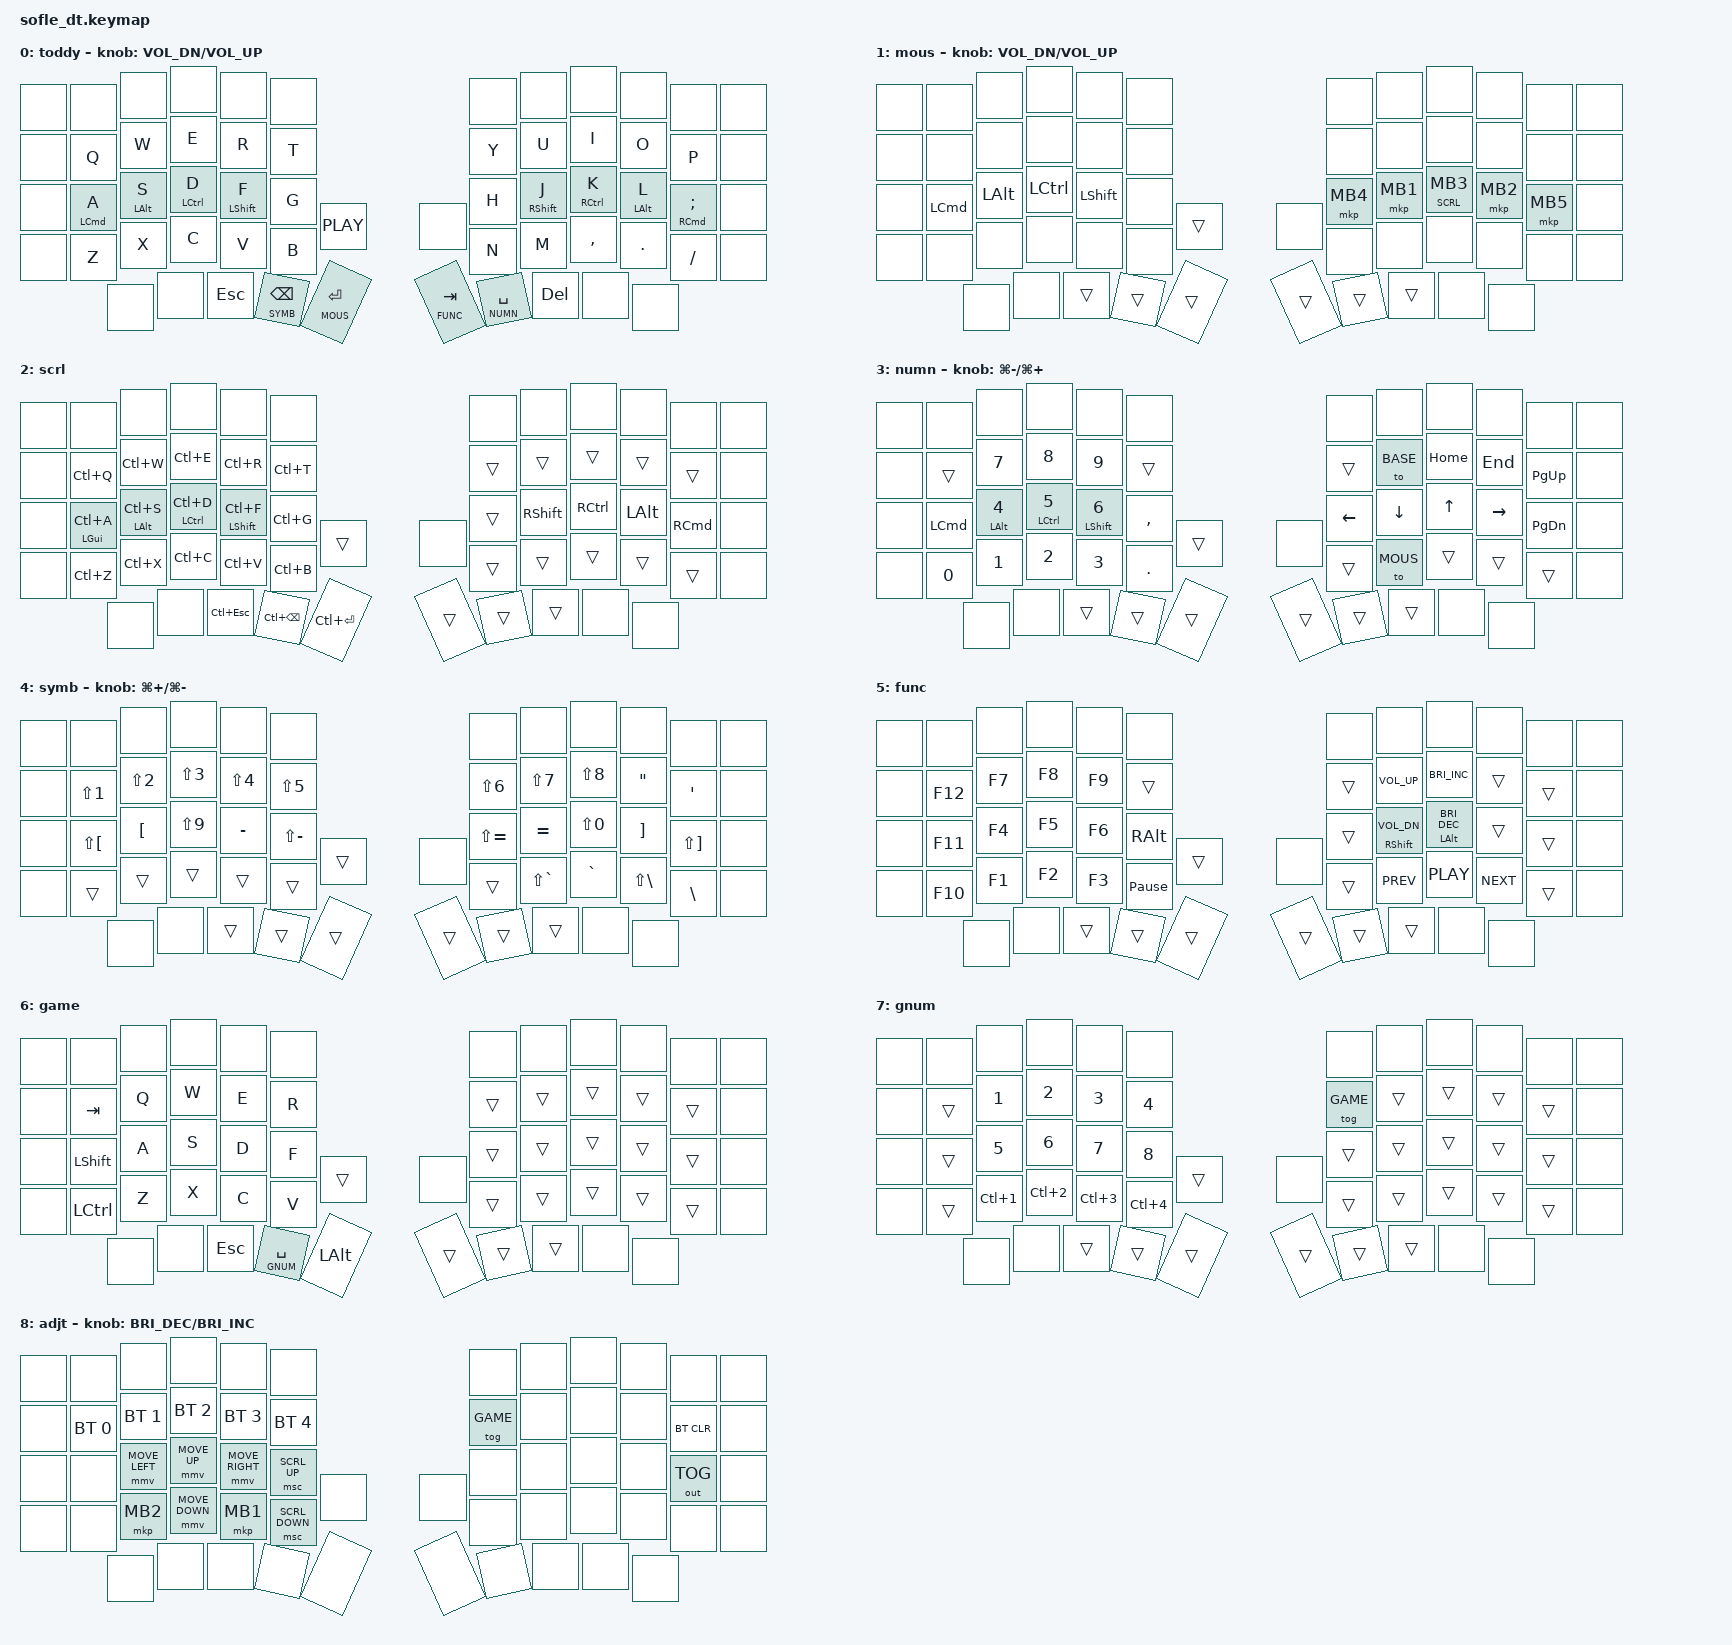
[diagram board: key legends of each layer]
/*
 * Copyright (c) 2020 The ZMK Contributors
 *
 * SPDX-License-Identifier: MIT
 */

#include <dt-bindings/zmk/ext_power.h>
#include <behaviors.dtsi>
#include <dt-bindings/zmk/bt.h>
#include <dt-bindings/zmk/keys.h>
#include <dt-bindings/zmk/outputs.h>
#include <dt-bindings/zmk/pointing.h>
#include <input/processors.dtsi>
#include "layers.h"

/*
 * 0  1  2  3  4  5             6  7  8  9 10 11
 * 12 13 14 15 16 17           18 19 20 21 22 23
 * 24 25 26 27 28 29           30 31 32 33 34 35
 * 36 37 38 39 40 41 (42) (43) 44 45 46 47 48 49
 *       50 51 52 53 54     55 56 57 58 59
 */

#define LEFT_HAND  0  1  2  3  4  5 12 13 14 15 16 17 24 25 26 27 28 29 36 37 38 39 40 41 50 51 52 53 54
#define RIGHT_HAND 6  7  8  9 10 11 18 19 20 21 22 23 30 31 32 33 34 35 44 45 46 47 48 49 55 56 57 58 59

&mmv {
    time-to-max-speed-ms = <100>;
    acceleration-exponent = <2>;
};

&msc {
    time-to-max-speed-ms = <100>;
    acceleration-exponent = <2>;
};

/ {
    combos {
        compatible = "zmk,combos";
        require-prior-idle-ms = <100>;

        combo_CAPSWORD {
            timeout-ms = <50>;
            key-positions = <28 31>;
            bindings = <&caps_word>;
        };

        // Mouse Buttons
        combo_mkback {
            timeout-ms = <50>;
            key-positions = <18 30>;
            bindings = <&mkp MB4>;
        };
        combo_mkleft {
            timeout-ms = <50>;
            key-positions = <19 31>;
            bindings = <&mkp LCLK>;
        };
        combo_scrllayer {
            timeout-ms = <50>;
            key-positions = <20 32>;
            bindings = <&l_mkp SCRL MCLK>;
        };
        combo_mkright {
            timeout-ms = <50>;
            key-positions = <21 33>;
            bindings = <&mkp RCLK>;
        };
        combo_mkfrw {
            timeout-ms = <50>;
            key-positions = <22 34>;
            bindings = <&mkp MB5>;
        };
        combo_mkmiddle {
            timeout-ms = <50>;
            key-positions = <32 46>;
            bindings = <&mkp MCLK>;
        };
    };

    behaviors {
        hml: homerow_mod_left {
            compatible = "zmk,behavior-hold-tap";
            #binding-cells = <2>;
            flavor = "balanced";
            tapping-term-ms = <250>;
            hold-trigger-key-positions = < RIGHT_HAND >;
            hold-trigger-on-release;
            quick-tap-ms = <175>;
            require-prior-idle-ms = <150>;
            bindings = <&kp>, <&kp>;
        };

        hmr: homerow_mod_right {
            compatible = "zmk,behavior-hold-tap";
            #binding-cells = <2>;
            flavor = "balanced";
            tapping-term-ms = <250>;
            hold-trigger-key-positions = < LEFT_HAND >;
            hold-trigger-on-release;
            quick-tap-ms = <175>;
            require-prior-idle-ms = <150>;
            bindings = <&kp>, <&kp>;
        };

        ihml: hrm_index_l {
            compatible = "zmk,behavior-hold-tap";
            #binding-cells = <2>;
            flavor = "balanced";
            tapping-term-ms = <150>;
            hold-trigger-key-positions = < RIGHT_HAND >;
            hold-trigger-on-release;
            require-prior-idle-ms = <50>;
            quick-tap-ms = <150>;
            bindings = <&kp>, <&kp>;
        };

        ihmr: hrm_index_r  {
            compatible = "zmk,behavior-hold-tap";
            #binding-cells = <2>;
            flavor = "balanced";
            tapping-term-ms = <150>;
            hold-trigger-key-positions = < LEFT_HAND >;
            hold-trigger-on-release;
            require-prior-idle-ms = <50>;
            quick-tap-ms = <150>;
            bindings = <&kp>, <&kp>;
        };

        slt: smart_thumb_layer_tap {
            compatible = "zmk,behavior-hold-tap";
            #binding-cells = <2>;
            flavor = "balanced";
            tapping-term-ms = <200>;
            quick-tap-ms = <175>;
            bindings = <&mo>, <&kp>;
        };

        l_mkp: layer_tap_mkp {
            compatible = "zmk,behavior-hold-tap";
            #binding-cells = <2>;
            flavor = "tap-preferred";
            tapping-term-ms = <100>;
            bindings = <&mo>, <&mkp>;
        };
    };

    conditional_layers {
        compatible = "zmk,conditional-layers";

        adjust_layer {
            if-layers = <NUMN SYMB>;
            then-layer = <ADJT>;
        };
    };

    keymap {
        compatible = "zmk,keymap";

        BASE {
            display-name = "toddy";
            bindings = <
            &none           &none           &none           &none           &none           &none                                           &none           &none           &none           &none           &none           &none
            &none           &kp Q           &kp W           &kp E           &kp R           &kp T                                           &kp Y           &kp U           &kp I           &kp O           &kp P           &none
            &none           &hml LCMD A     &hml LALT S     &hml LCTRL D    &ihml LSHFT F   &kp G                                           &kp H           &ihmr RSHFT J   &hmr RCTRL K    &hmr LALT L     &hmr RCMD SEMI  &none
            &none           &kp Z           &kp X           &kp C           &kp V           &kp B           &kp C_PLAY      &none           &kp N           &kp M           &kp COMMA       &kp DOT         &kp FSLH        &none
                                            &none           &none           &kp ESC         &slt SYMB BSPC  &slt MOUS RET   &slt FUNC TAB   &slt NUMN SPACE &kp DEL         &none           &none
            >;

            sensor-bindings = <&inc_dec_kp C_VOL_DN C_VOL_UP>;
        };

        MOUS {
            display-name = "mous";
            bindings = <
            &none           &none           &none           &none           &none           &none                                           &none           &none           &none           &none           &none           &none
            &none           &none           &none           &none           &none           &none                                           &none           &none           &none           &none           &none           &none
            &none           &kp LCMD        &kp LALT        &kp LCTRL       &kp LSHFT       &none                                           &mkp MB4        &mkp MB1        &l_mkp SCRL MB3 &mkp MB2        &mkp MB5        &none
            &none           &none           &none           &none           &none           &none           &trans          &none           &none           &none           &none           &none           &none           &none
                                            &none           &none           &trans          &trans          &trans          &trans          &trans          &trans          &none           &none
            >;

            sensor-bindings = <&inc_dec_kp C_VOL_DN C_VOL_UP>;
        };

        SCRL {
            display-name = "scrl";
            bindings = <
            &none           &none           &none           &none            &none             &none                                        &none           &none           &none           &none           &none           &none
            &none           &kp LC(Q)       &kp LC(W)       &kp LC(E)        &kp LC(R)         &kp LC(T)                                    &trans          &trans          &trans          &trans          &trans          &none
            &none           &hml LGUI LC(A) &hml LALT LC(S) &hml LCTRL LC(D) &ihml LSHFT LC(F) &kp LC(G)                                    &trans          &kp RSHFT       &kp RCTRL       &kp LALT        &kp RCMD        &none
            &none           &kp LC(Z)       &kp LC(X)       &kp LC(C)        &kp LC(V)         &kp LC(B)    &trans          &none           &trans          &trans          &trans          &trans          &trans          &none
                                            &none           &none            &kp LC(ESC)       &kp LC(BSPC) &kp LC(RET)     &trans          &trans          &trans          &none           &none
            >;
        };

        NUMN {
            display-name = "numn";
            bindings = <
            &none           &none           &none           &none           &none           &none                                           &none           &none           &none           &none           &none           &none
            &none           &trans          &kp N7          &kp N8          &kp N9          &trans                                          &trans          &to BASE        &kp HOME        &kp END         &kp PAGE_UP     &none
            &none           &kp LCMD        &hml  LALT N4   &hml  LCTRL N5  &ihml  LSHFT N6 &kp COMMA                                       &kp LEFT        &kp DOWN        &kp UP          &kp RIGHT       &kp PAGE_DOWN   &none
            &none           &kp N0          &kp N1          &kp N2          &kp N3          &kp DOT         &trans          &none           &trans          &to MOUS        &trans          &trans          &trans          &none
                                            &none           &none           &trans          &trans          &trans          &trans          &trans          &trans          &none           &none
            >;

            sensor-bindings = <&inc_dec_kp LG(MINUS) LG(PLUS)>;
        };

        SYMB {
            display-name = "symb";
            bindings = <
            &none           &none           &none           &none           &none           &none                                           &none           &none           &none           &none           &none           &none
            &none           &kp LS(N1)      &kp LS(N2)      &kp LS(N3)      &kp LS(N4)      &kp LS(N5)                                      &kp LS(N6)      &kp LS(N7)      &kp LS(N8)      &kp DQT         &kp SQT         &none
            &none           &kp LS(LBKT)    &kp LBKT        &kp LS(N9)      &kp MINUS       &kp LS(MINUS)                                   &kp LS(EQUAL)   &kp EQUAL       &kp LS(N0)      &kp RBKT        &kp LS(RBKT)    &none
            &none           &trans          &trans          &trans          &trans          &trans          &trans          &none           &trans          &kp LS(GRAVE)   &kp GRAVE       &kp LS(BSLH)    &kp BSLH        &none
                                            &none           &none           &trans          &trans          &trans          &trans          &trans          &trans          &none           &none
            >;

            sensor-bindings = <&inc_dec_kp LG(PLUS) LG(MINUS)>;
        };

        FUNC {
            display-name = "func";
            bindings = <
            &none           &none           &none           &none           &none           &none                                           &none           &none                 &none                &none           &none           &none
            &none           &kp F12         &kp F7          &kp F8          &kp F9          &trans                                          &trans          &kp C_VOL_UP          &kp C_BRI_INC        &trans          &trans          &none
            &none           &kp F11         &kp F4          &kp F5          &kp F6          &kp RALT                                        &trans          &ihmr RSHFT C_VOL_DN  &hmr LALT C_BRI_DEC  &trans          &trans          &none
            &none           &kp F10         &kp F1          &kp F2          &kp F3          &kp PAUSE_BREAK &trans          &none           &trans          &kp C_PREV            &kp C_PLAY           &kp C_NEXT      &trans          &none
                                            &none           &none           &trans          &trans          &trans          &trans          &trans          &trans                &none                &none
            >;
        };

        GAME {
            display-name = "game";
            bindings = <
            &none           &none           &none           &none           &none           &none                                           &none           &none           &none           &none           &none           &none
            &none           &kp TAB         &kp Q           &kp W           &kp E           &kp R                                           &trans          &trans          &trans          &trans          &trans          &none
            &none           &kp LSHFT       &kp A           &kp S           &kp D           &kp F                                           &trans          &trans          &trans          &trans          &trans          &none
            &none           &kp LCTRL       &kp Z           &kp X           &kp C           &kp V           &trans          &none           &trans          &trans          &trans          &trans          &trans          &none
                                            &none           &none           &kp ESC         &lt GNUM SPACE  &kp LALT        &trans          &trans          &trans          &none           &none
            >;
        };

        GNUM {
            display-name = "gnum";
            bindings = <
            &none           &none           &none           &none           &none           &none                                           &none           &none           &none           &none           &none           &none
            &none           &trans          &kp N1          &kp N2          &kp N3          &kp N4                                          &tog GAME       &trans          &trans          &trans          &trans          &none
            &none           &trans          &kp N5          &kp N6          &kp N7          &kp N8                                          &trans          &trans          &trans          &trans          &trans          &none
            &none           &trans          &kp LC(N1)      &kp LC(N2)      &kp LC(N3)      &kp LC(N4)      &trans          &none           &trans          &trans          &trans          &trans          &trans          &none
                                            &none           &none           &trans          &trans          &trans          &trans          &trans          &trans          &none           &none
            >;
        };

        ADJT {
            display-name = "adjt";
            bindings = <
            &none           &none           &none           &none           &none           &none                                           &none           &none           &none           &none           &none           &none
            &none           &bt BT_SEL 0    &bt BT_SEL 1    &bt BT_SEL 2    &bt BT_SEL 3    &bt BT_SEL 4                                    &tog GAME       &none           &none           &none           &bt BT_CLR      &none
            &none           &none           &mmv MOVE_LEFT  &mmv MOVE_UP    &mmv MOVE_RIGHT &msc SCRL_UP                                    &none           &none           &none           &none           &out OUT_TOG    &none
            &none           &none           &mkp MB2        &mmv MOVE_DOWN  &mkp MB1        &msc SCRL_DOWN  &none           &none           &none           &none           &none           &none           &none           &none
                                            &none           &none           &none           &none           &none           &none           &none           &none           &none           &none
            >;

            sensor-bindings = <&inc_dec_kp C_BRI_DEC C_BRI_INC>;
        };
    };
};
